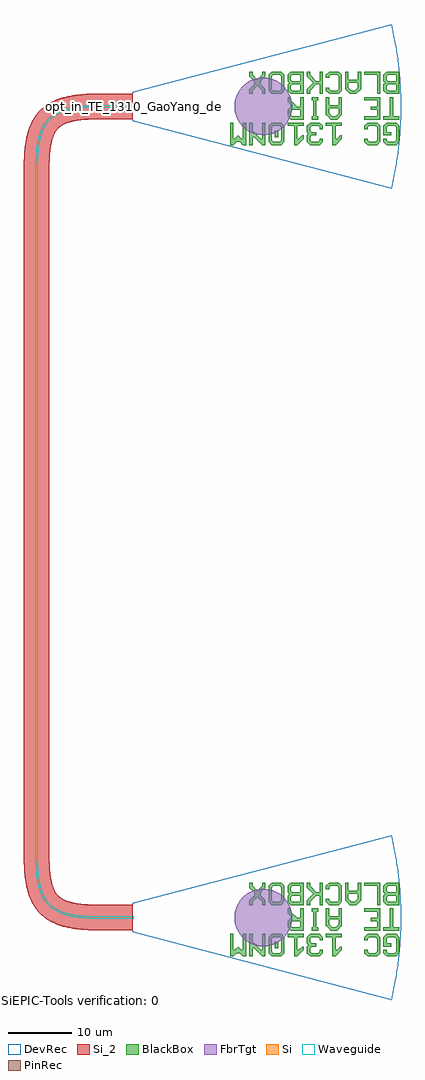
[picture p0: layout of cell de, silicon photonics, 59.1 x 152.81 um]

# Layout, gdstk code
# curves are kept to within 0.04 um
from math import pi, radians
import gdstk
lib = gdstk.Library(unit=1e-6, precision=1e-09)
def R(c, l, rs):  # rectangles x0, y0, x1, y1
    for r in rs: c.add(gdstk.rectangle(r[:2], r[2:], *l))
def P(c, l, *ps):  # polygons
    for p in ps: c.add(gdstk.Polygon(p, *l))
Si = (1, 0)
Si_2 = (1, 2)
PinRec = (1, 10)
Waveguide = (1, 99)
DevRec = (68, 0)
FbrTgt = (81, 0)
BlackBox = (998, 0)

gc_air_te1310_bb = lib.new_cell('GC_Air_te1310_BB')
P(gc_air_te1310_bb, DevRec, [(-40.529,-12.904),(-41.209,-9.338),(-41.635,-6.364),(-41.899,-3.367),(-42.002,0),(-41.899,3.367),(-41.637,6.347),(-41.211,9.328),(-40.529,12.904),(0,2.317),(0,-2.317)])
P(gc_air_te1310_bb, FbrTgt, [(-20.621,-4.5),(-21.495,-4.37),(-22.326,-4.073),(-23.084,-3.619),(-23.738,-3.026),(-24.264,-2.316),(-24.642,-1.518),(-24.857,-0.661),(-24.9,0.221),(-24.77,1.095),(-24.473,1.926),(-24.019,2.684),(-23.426,3.338),(-22.716,3.864),(-21.918,4.242),(-21.061,4.457),(-20.179,4.5),(-19.305,4.37),(-18.474,4.073),(-17.716,3.619),(-17.062,3.026),(-16.536,2.316),(-16.158,1.518),(-15.943,0.661),(-15.9,-0.221),(-16.03,-1.095),(-16.327,-1.926),(-16.781,-2.684),(-17.374,-3.338),(-18.084,-3.864),(-18.882,-4.242),(-19.739,-4.457)])
R(gc_air_te1310_bb, BlackBox, [(-22.72,3.8,-22.22,4.8)])
P(gc_air_te1310_bb, BlackBox, [(-41.22,2.55),(-41.72,3.05),(-41.72,5.55),(-41.22,6.05),(-39.72,6.05),(-39.22,5.55),(-39.22,5.05),(-39.72,5.05),(-39.72,5.3),(-39.97,5.55),(-40.97,5.55),(-41.22,5.3),(-41.22,3.3),(-40.97,3.05),(-39.97,3.05),(-39.72,3.3),(-39.72,4.05),(-40.47,4.05),(-40.47,4.55),(-39.22,4.55),(-39.22,3.05),(-39.72,2.55)],
  [(-38.22,2.55),(-38.72,3.05),(-38.72,5.55),(-38.22,6.05),(-36.72,6.05),(-36.22,5.55),(-36.22,5.05),(-36.72,5.05),(-36.72,5.3),(-36.97,5.55),(-37.97,5.55),(-38.22,5.3),(-38.22,3.3),(-37.97,3.05),(-36.97,3.05),(-36.72,3.3),(-36.72,3.55),(-36.22,3.55),(-36.22,3.05),(-36.72,2.55)],
  [(-32.72,2.55),(-32.72,3.05),(-31.72,3.05),(-31.72,5.05),(-31.97,5.05),(-32.47,4.55),(-32.72,4.55),(-32.72,5.05),(-31.72,6.05),(-31.22,6.05),(-31.22,3.05),(-30.22,3.05),(-30.22,2.55)],
  [(-29.22,2.55),(-29.72,3.05),(-29.72,3.55),(-29.22,3.55),(-29.22,3.3),(-28.97,3.05),(-27.97,3.05),(-27.72,3.3),(-27.72,3.8),(-27.97,4.05),(-28.72,4.05),(-28.72,4.55),(-27.97,4.55),(-27.72,4.8),(-27.72,5.3),(-27.97,5.55),(-28.97,5.55),(-29.22,5.3),(-29.22,5.05),(-29.72,5.05),(-29.72,5.55),(-29.22,6.05),(-27.72,6.05),(-27.22,5.55),(-27.22,4.55),(-27.47,4.3),(-27.22,4.05),(-27.22,3.05),(-27.72,2.55)],
  [(-26.72,2.55),(-26.72,3.05),(-25.72,3.05),(-25.72,5.05),(-25.97,5.05),(-26.47,4.55),(-26.72,4.55),(-26.72,5.05),(-25.72,6.05),(-25.22,6.05),(-25.22,3.05),(-24.22,3.05),(-24.22,2.55)],
  [(-23.22,2.55),(-23.72,3.05),(-23.72,5.55),(-23.22,6.05),(-21.72,6.05),(-21.22,5.55),(-22.97,5.55),(-23.22,5.3),(-23.22,3.3),(-22.97,3.05),(-21.97,3.05),(-21.72,3.3),(-21.72,5.3),(-21.97,5.55),(-21.22,5.55),(-21.22,3.05),(-21.72,2.55)],
  [(-20.72,2.55),(-20.72,6.05),(-20.22,6.05),(-18.97,4.8),(-18.72,4.8),(-18.72,6.05),(-18.22,6.05),(-18.22,2.55),(-18.72,2.55),(-18.72,3.8),(-19.97,5.05),(-20.22,5.05),(-20.22,2.55)],
  [(-17.72,2.55),(-17.72,6.05),(-17.22,6.05),(-16.72,5.55),(-16.22,5.55),(-15.72,6.05),(-15.22,6.05),(-15.22,2.55),(-15.72,2.55),(-15.72,5.05),(-15.97,5.05),(-16.47,4.55),(-16.97,5.05),(-17.22,5.05),(-17.22,2.55)],
  [(-40.72,-1.45),(-40.72,1.55),(-41.72,1.55),(-41.72,2.05),(-39.22,2.05),(-39.22,1.55),(-40.22,1.55),(-40.22,-1.45)],
  [(-38.72,-1.45),(-38.72,2.05),(-36.22,2.05),(-36.22,1.55),(-38.22,1.55),(-38.22,0.55),(-37.22,0.55),(-37.22,0.05),(-38.22,0.05),(-38.22,-0.95),(-36.22,-0.95),(-36.22,-1.45)],
  [(-32.72,-1.45),(-32.72,1.3),(-31.97,2.05),(-30.97,2.05),(-30.47,1.55),(-31.72,1.55),(-32.22,1.05),(-32.22,0.3),(-30.72,0.3),(-30.72,1.05),(-31.22,1.55),(-30.47,1.55),(-30.22,1.3),(-30.22,-1.45),(-30.72,-1.45),(-30.72,-0.2),(-32.22,-0.2),(-32.22,-1.45)],
  [(-28.97,-1.45),(-28.97,-0.95),(-28.72,-0.95),(-28.72,1.55),(-28.97,1.55),(-28.97,2.05),(-27.97,2.05),(-27.97,1.55),(-28.22,1.55),(-28.22,-0.95),(-27.97,-0.95),(-27.97,-1.45)],
  [(-26.72,-1.45),(-26.72,2.05),(-24.72,2.05),(-24.22,1.55),(-26.22,1.55),(-26.22,0.55),(-24.97,0.55),(-24.72,0.8),(-24.72,1.3),(-24.97,1.55),(-24.22,1.55),(-24.22,0.55),(-24.72,0.05),(-24.72,-0.2),(-24.22,-0.7),(-24.22,-1.45),(-24.72,-1.45),(-24.72,-0.95),(-25.72,0.05),(-26.22,0.05),(-26.22,-1.45)],
  [(-41.72,-5.45),(-41.72,-1.95),(-39.72,-1.95),(-39.22,-2.45),(-41.22,-2.45),(-41.22,-3.45),(-39.97,-3.45),(-39.72,-3.2),(-39.72,-2.7),(-39.97,-2.45),(-39.22,-2.45),(-39.22,-3.45),(-39.47,-3.7),(-39.22,-3.95),(-41.22,-3.95),(-41.22,-4.95),(-39.97,-4.95),(-39.72,-4.7),(-39.72,-4.2),(-39.97,-3.95),(-39.22,-3.95),(-39.22,-4.95),(-39.72,-5.45)],
  [(-38.72,-5.45),(-38.72,-1.95),(-38.22,-1.95),(-38.22,-4.95),(-36.22,-4.95),(-36.22,-5.45)],
  [(-35.72,-5.45),(-35.72,-2.7),(-34.97,-1.95),(-33.97,-1.95),(-33.47,-2.45),(-34.72,-2.45),(-35.22,-2.95),(-35.22,-3.7),(-33.72,-3.7),(-33.72,-2.95),(-34.22,-2.45),(-33.47,-2.45),(-33.22,-2.7),(-33.22,-5.45),(-33.72,-5.45),(-33.72,-4.2),(-35.22,-4.2),(-35.22,-5.45)],
  [(-32.22,-5.45),(-32.72,-4.95),(-32.72,-2.45),(-32.22,-1.95),(-30.72,-1.95),(-30.22,-2.45),(-30.22,-2.95),(-30.72,-2.95),(-30.72,-2.7),(-30.97,-2.45),(-31.97,-2.45),(-32.22,-2.7),(-32.22,-4.7),(-31.97,-4.95),(-30.97,-4.95),(-30.72,-4.7),(-30.72,-4.45),(-30.22,-4.45),(-30.22,-4.95),(-30.72,-5.45)],
  [(-29.72,-5.45),(-29.72,-1.95),(-29.22,-1.95),(-29.22,-3.45),(-28.72,-3.45),(-27.72,-2.45),(-27.72,-1.95),(-27.22,-1.95),(-27.22,-2.7),(-28.22,-3.7),(-27.22,-4.7),(-27.22,-5.45),(-27.72,-5.45),(-27.72,-4.95),(-28.72,-3.95),(-29.22,-3.95),(-29.22,-5.45)],
  [(-26.72,-5.45),(-26.72,-1.95),(-24.72,-1.95),(-24.22,-2.45),(-26.22,-2.45),(-26.22,-3.45),(-24.97,-3.45),(-24.72,-3.2),(-24.72,-2.7),(-24.97,-2.45),(-24.22,-2.45),(-24.22,-3.45),(-24.47,-3.7),(-24.22,-3.95),(-26.22,-3.95),(-26.22,-4.95),(-24.97,-4.95),(-24.72,-4.7),(-24.72,-4.2),(-24.97,-3.95),(-24.22,-3.95),(-24.22,-4.95),(-24.72,-5.45)],
  [(-23.22,-5.45),(-23.72,-4.95),(-23.72,-2.45),(-23.22,-1.95),(-21.72,-1.95),(-21.22,-2.45),(-21.22,-3.7),(-21.72,-3.7),(-21.72,-2.7),(-21.97,-2.45),(-22.97,-2.45),(-23.22,-2.7),(-23.22,-4.7),(-22.97,-4.95),(-21.97,-4.95),(-21.72,-4.7),(-21.72,-3.7),(-21.22,-3.7),(-21.22,-4.95),(-21.72,-5.45)],
  [(-20.72,-5.45),(-20.72,-4.7),(-19.97,-3.95),(-19.97,-3.45),(-20.72,-2.7),(-20.72,-1.95),(-20.22,-1.95),(-20.22,-2.45),(-19.47,-3.2),(-18.72,-2.45),(-18.72,-1.95),(-18.22,-1.95),(-18.22,-2.7),(-18.97,-3.45),(-18.97,-3.95),(-18.22,-4.7),(-18.22,-5.45),(-18.72,-5.45),(-18.72,-4.95),(-19.47,-4.2),(-20.22,-4.95),(-20.22,-5.45)])
gc_air_te1310_bb.add(gdstk.FlexPath([(-0.01,0),(0.01,0)], 0.35, ends="flush", simple_path=True, layer=1, datatype=10))  # PinRec
gc_air_te1310_bb.add(gdstk.Label('pin1', (0,0), layer=1, texttype=10))
gc_air_te1310_bb.add(gdstk.Label('Lumerical_INTERCONNECT_library=Design kits/SiEPICfab_EBeam_ZEP', (-34.01,1.61), layer=68, texttype=0))
gc_air_te1310_bb.add(gdstk.Label('Component=GC_Air_te1310_BB', (-34.01,0), layer=68, texttype=0))

waveguide_8 = lib.new_cell('Waveguide$8')
P(waveguide_8, Si, [(556.61,15.105),(553.771,15.216),(551.895,15.488),(551.078,15.696),(550.337,15.957),(549.67,16.275),(549.073,16.654),(548.546,17.097),(548.087,17.607),(547.692,18.186),(547.36,18.836),(547.085,19.557),(546.817,20.566),(546.545,22.442),(546.435,25.28),(546.462,133.771),(546.546,135.119),(546.733,136.556),(546.969,137.615),(547.287,138.553),(547.693,139.375),(548.197,140.088),(548.803,140.694),(549.516,141.198),(550.338,141.604),(551.276,141.922),(552.335,142.158),(553.52,142.32),(555.997,142.451),(561.71,142.455),(561.71,142.105),(555.707,142.096),(553.075,141.916),(551.97,141.731),(551.179,141.529),(550.306,141.21),(549.694,140.896),(549.027,140.426),(548.465,139.864),(547.995,139.197),(547.611,138.419),(547.307,137.521),(547.077,136.496),(546.894,135.087),(546.812,133.757),(546.785,25.28),(546.872,22.728),(547.005,21.513),(547.205,20.434),(547.479,19.486),(547.83,18.661),(548.265,17.952),(548.79,17.349),(549.414,16.842),(550.145,16.424),(550.994,16.088),(551.763,15.876),(553.803,15.564),(556,15.46),(561.71,15.455),(561.71,15.105)])
P(waveguide_8, Si_2, [(556.609,13.28),(553.606,13.398),(551.515,13.703),(550.556,13.948),(549.644,14.269),(548.788,14.677),(547.993,15.183),(547.449,15.625),(546.798,16.299),(546.243,17.058),(545.788,17.885),(545.428,18.761),(545.146,19.698),(544.934,20.688),(544.754,22.003),(544.65,23.424),(544.61,25.28),(544.639,133.842),(544.728,135.284),(544.935,136.873),(545.278,138.334),(545.69,139.461),(546.244,140.503),(546.799,141.262),(547.45,141.936),(548.388,142.647),(549.215,143.102),(550.321,143.54),(551.516,143.858),(553.063,144.107),(555.662,144.271),(561.71,144.28),(561.71,140.28),(555.744,140.271),(553.521,140.133),(552.528,139.982),(551.561,139.738),(550.826,139.437),(550.201,139.028),(549.863,138.69),(549.566,138.269),(549.11,137.19),(548.812,135.787),(548.635,133.686),(548.61,25.28),(548.674,23.113),(548.944,21.02),(549.152,20.231),(549.402,19.597),(549.678,19.113),(549.99,18.729),(550.442,18.349),(550.926,18.073),(551.56,17.823),(552.349,17.615),(554.442,17.345),(556.317,17.282),(561.71,17.28),(561.71,13.28)])
P(waveguide_8, Waveguide, [(556.61,15.105),(553.771,15.216),(551.895,15.488),(551.078,15.696),(550.337,15.957),(549.67,16.275),(549.073,16.654),(548.546,17.097),(548.087,17.607),(547.692,18.186),(547.36,18.836),(547.085,19.557),(546.817,20.566),(546.545,22.442),(546.435,25.28),(546.462,133.771),(546.546,135.119),(546.733,136.556),(546.969,137.615),(547.287,138.553),(547.693,139.375),(548.197,140.088),(548.803,140.694),(549.516,141.198),(550.338,141.604),(551.276,141.922),(552.335,142.158),(553.52,142.32),(555.997,142.451),(561.71,142.455),(561.71,142.105),(555.707,142.096),(553.075,141.916),(551.97,141.731),(551.179,141.529),(550.306,141.21),(549.694,140.896),(549.027,140.426),(548.465,139.864),(547.995,139.197),(547.611,138.419),(547.307,137.521),(547.077,136.496),(546.894,135.087),(546.812,133.757),(546.785,25.28),(546.872,22.728),(547.005,21.513),(547.205,20.434),(547.479,19.486),(547.83,18.661),(548.265,17.952),(548.79,17.349),(549.414,16.842),(550.145,16.424),(550.994,16.088),(551.763,15.876),(553.803,15.564),(556,15.46),(561.71,15.455),(561.71,15.105)])
P(waveguide_8, DevRec, [(556.607,13.28),(553.82,13.381),(551.396,13.729),(549.948,14.15),(549.271,14.432),(548.02,15.164),(546.945,16.129),(546.493,16.691),(545.762,17.941),(545.247,19.327),(545.058,20.067),(544.793,21.646),(544.652,23.375),(544.61,25.28),(544.61,132.28),(544.653,134.186),(544.794,135.916),(545.059,137.494),(545.48,138.942),(545.762,139.619),(546.494,140.87),(546.946,141.432),(547.459,141.945),(548.626,142.791),(549.271,143.128),(550.657,143.643),(551.397,143.832),(552.976,144.097),(555.635,144.271),(561.71,144.28),(561.71,140.28),(555.723,140.271),(554.145,140.194),(552.267,139.928),(550.963,139.504),(550.131,138.967),(549.732,138.522),(549.388,137.929),(549.09,137.12),(548.856,136.063),(548.649,133.988),(548.61,25.28),(548.696,22.815),(548.962,20.937),(549.386,19.633),(549.923,18.801),(550.368,18.402),(550.961,18.058),(552.266,17.633),(554.144,17.367),(555.723,17.289),(561.71,17.28),(561.71,13.28)])
waveguide_8.add(gdstk.FlexPath([(561.7,142.28),(561.72,142.28)], 0.35, ends="flush", simple_path=True, layer=1, datatype=10))  # PinRec
waveguide_8.add(gdstk.FlexPath([(561.7,15.28),(561.72,15.28)], 0.35, ends="flush", simple_path=True, layer=1, datatype=10))  # PinRec
waveguide_8.add(gdstk.Label('opt1', (561.71,142.28), layer=1, texttype=10))
waveguide_8.add(gdstk.Label('opt2', (561.71,15.28), layer=1, texttype=10))
waveguide_8.add(gdstk.Label('Lumerical_INTERCONNECT_library=Design kits/SiEPICfab_EBeam_ZEP', (561.71,142.21), layer=68, texttype=0))
waveguide_8.add(gdstk.Label('Component=wg_strip_integral_te1310', (561.71,142.35), layer=68, texttype=0))
waveguide_8.add(gdstk.Label('cellName=Waveguide', (561.71,142.42), layer=68, texttype=0))
waveguide_8.add(gdstk.Label('Spice_param:wg_length=0.000151013 wg_width=3.5e-07 points="[[561.71,142.28],[546.61,142.28],[546.61,15.28],[561.71,15.28]]" radius=1e-05', (561.71,142.28), layer=68, texttype=0))
waveguide_8.add(gdstk.Label('Length=151.013 (microns)', (561.71,141.86), layer=68, texttype=0))
waveguide_8.add(gdstk.Label('waveguide_type=Strip TE 1310 nm, w=350 nm (core-clad)', (561.71,142.14), layer=68, texttype=0))

c_de = lib.new_cell('de')
r = gdstk.Reference(gc_air_te1310_bb, (561.71,142.28), rotation=pi); r.repetition = gdstk.Repetition(1, 2, v1=(0,0), v2=(0,-127)); c_de.add(r)
c_de.add(gdstk.Reference(waveguide_8, (0,0)))
c_de.add(gdstk.Label('opt_in_TE_1310_GaoYang_de', (561.72,142.28), layer=10, texttype=0))

lib.write_gds('de.gds')
